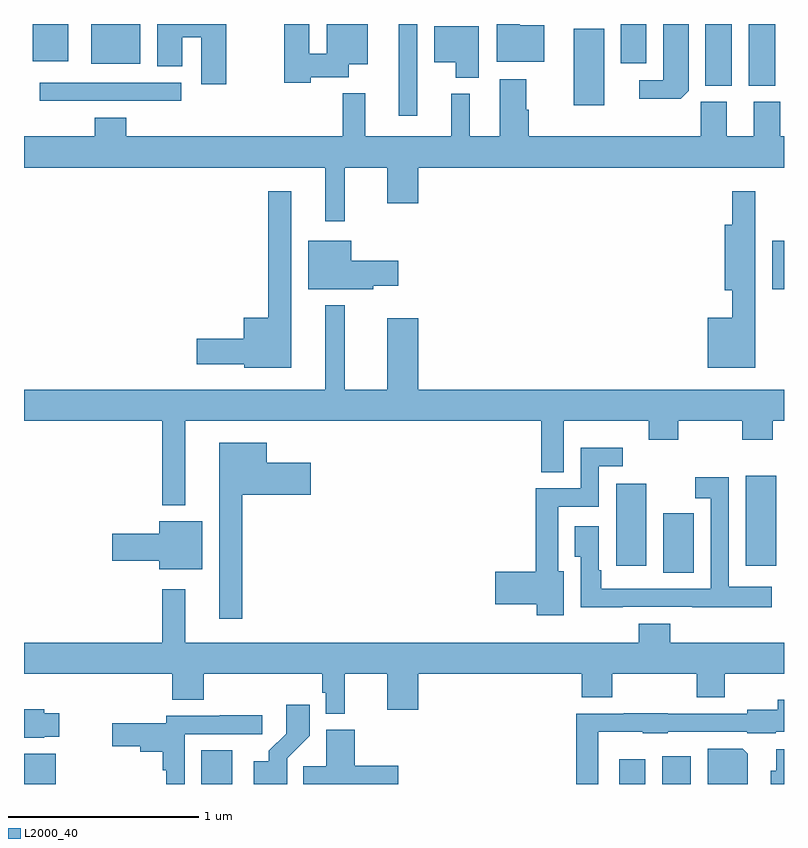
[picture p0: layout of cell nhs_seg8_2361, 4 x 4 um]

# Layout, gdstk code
import gdstk
lib = gdstk.Library(unit=1e-6, precision=1e-09)
def R(c, l, rs):  # rectangles x0, y0, x1, y1
    for r in rs: c.add(gdstk.rectangle(r[:2], r[2:], *l))
def P(c, l, *ps):  # polygons
    for p in ps: c.add(gdstk.Polygon(p, *l))
L2000_40 = (2000, 40)

nhs_seg8_2361 = lib.new_cell('nhs_seg8_2361')
R(nhs_seg8_2361, L2000_40, [(259.001,1135.9,259.168,1136.059), (259.934,1135.9,260.095,1136.077), (262.133,1135.9,262.27,1136.029), (262.358,1135.9,262.51,1136.047), (262.364,1137.013,262.525,1137.324), (262.118,1137.048,262.276,1137.481), (262.799,1137.048,262.96,1137.523), (262.937,1138.505,263,1138.759), (260.972,1139.418,261.069,1139.9), (261.893,1139.472,262.054,1139.875), (259.083,1139.496,259.828,1139.592), (262.586,1139.575,262.726,1139.9), (262.814,1139.575,262.954,1139.9), (259.355,1139.69,259.612,1139.9), (262.142,1139.694,262.276,1139.9), (259.046,1139.705,259.234,1139.9)])
P(nhs_seg8_2361, L2000_40, [(261.739,1139.893),(261.61,1139.893),(261.61,1139.9),(261.488,1139.9),(261.488,1139.702),(261.739,1139.702)],
  [(260.508,1139.621),(260.71,1139.621),(260.71,1139.687),(260.809,1139.687),(260.809,1139.9),(260.594,1139.9),(260.594,1139.744),(260.5,1139.744),(260.5,1139.9),(260.371,1139.9),(260.371,1139.591),(260.508,1139.591)],
  [(260.064,1139.9),(259.7,1139.9),(259.7,1139.677),(259.834,1139.677),(259.834,1139.831),(259.934,1139.831),(259.934,1139.583),(260.064,1139.583)],
  [(262.498,1139.548),(262.498,1139.9),(262.364,1139.9),(262.364,1139.604),(262.239,1139.604),(262.239,1139.507),(262.457,1139.507)],
  [(261.394,1139.887),(261.158,1139.887),(261.158,1139.699),(261.272,1139.699),(261.272,1139.618),(261.394,1139.618)],
  [(260.689,1139.144),(260.912,1139.144),(260.912,1138.956),(261.076,1138.956),(261.076,1139.144),(263,1139.144),(263,1139.308),(262.979,1139.308),(262.979,1139.49),(262.841,1139.49),(262.841,1139.308),(262.699,1139.308),(262.699,1139.49),(262.561,1139.49),(262.561,1139.308),(261.656,1139.308),(261.656,1139.45),(261.643,1139.45),(261.643,1139.608),(261.503,1139.608),(261.503,1139.308),(261.346,1139.308),(261.346,1139.533),(261.248,1139.533),(261.248,1139.308),(260.795,1139.308),(260.795,1139.536),(260.677,1139.536),(260.677,1139.308),(259.538,1139.308),(259.538,1139.407),(259.373,1139.407),(259.373,1139.308),(259,1139.308),(259,1139.144),(260.585,1139.144),(260.585,1138.863),(260.689,1138.863)],
  [(260.407,1139.02),(260.286,1139.02),(260.286,1138.354),(260.156,1138.354),(260.156,1138.244),(259.908,1138.244),(259.908,1138.109),(260.16,1138.109),(260.16,1138.091),(260.407,1138.091)],
  [(262.849,1139.02),(262.728,1139.02),(262.728,1138.843),(262.688,1138.843),(262.688,1138.499),(262.728,1138.499),(262.728,1138.354),(262.598,1138.354),(262.598,1138.091),(262.849,1138.091)],
  [(260.838,1138.523),(260.971,1138.523),(260.971,1138.653),(260.722,1138.653),(260.722,1138.759),(260.495,1138.759),(260.495,1138.505),(260.838,1138.505)],
  [(259.849,1137.812),(261.723,1137.812),(261.723,1137.541),(261.841,1137.541),(261.841,1137.812),(262.288,1137.812),(262.288,1137.713),(262.443,1137.713),(262.443,1137.812),(262.78,1137.812),(262.78,1137.713),(262.94,1137.713),(262.94,1137.812),(263,1137.812),(263,1137.976),(261.076,1137.976),(261.076,1138.351),(260.912,1138.351),(260.912,1137.976),(260.689,1137.976),(260.689,1138.42),(260.585,1138.42),(260.585,1137.976),(259,1137.976),(259,1137.812),(259.728,1137.812),(259.728,1137.368),(259.849,1137.368)],
  [(260.149,1137.422),(260.509,1137.422),(260.509,1137.592),(260.278,1137.592),(260.278,1137.697),(260.027,1137.697),(260.027,1136.769),(260.149,1136.769)],
  [(261.841,1137.019),(261.811,1137.019),(261.811,1137.36),(262.026,1137.36),(262.026,1137.573),(262.15,1137.573),(262.15,1137.67),(261.93,1137.67),(261.93,1137.456),(261.693,1137.456),(261.693,1137.017),(261.48,1137.017),(261.48,1136.846),(261.698,1136.846),(261.698,1136.787),(261.841,1136.787)],
  [(262.151,1136.832),(262.517,1136.832),(262.517,1136.831),(262.936,1136.831),(262.936,1136.938),(262.71,1136.938),(262.71,1137.514),(262.533,1137.514),(262.533,1137.405),(262.614,1137.405),(262.614,1136.928),(262.039,1136.928),(262.039,1137.025),(262.026,1137.025),(262.026,1137.256),(261.899,1137.256),(261.899,1137.097),(261.93,1137.097),(261.93,1136.831),(262.151,1136.831)],
  [(259.939,1137.283),(259.712,1137.283),(259.712,1137.218),(259.464,1137.218),(259.464,1137.076),(259.712,1137.076),(259.712,1137.029),(259.939,1137.029)],
  [(260.688,1136.48),(260.912,1136.48),(260.912,1136.292),(261.076,1136.292),(261.076,1136.48),(261.935,1136.48),(261.935,1136.356),(262.095,1136.356),(262.095,1136.48),(262.54,1136.48),(262.54,1136.356),(262.687,1136.356),(262.687,1136.48),(263,1136.48),(263,1136.644),(262.4,1136.644),(262.4,1136.743),(262.235,1136.743),(262.235,1136.644),(259.849,1136.644),(259.849,1136.926),(259.728,1136.926),(259.728,1136.644),(259,1136.644),(259,1136.48),(259.781,1136.48),(259.781,1136.344),(259.946,1136.344),(259.946,1136.48),(260.569,1136.48),(260.569,1136.379),(260.589,1136.379),(260.589,1136.27),(260.688,1136.27)],
  [(262.023,1136.174),(262.257,1136.174),(262.257,1136.168),(262.389,1136.168),(262.389,1136.175),(262.806,1136.175),(262.806,1136.168),(262.956,1136.168),(262.956,1136.174),(263,1136.174),(263,1136.344),(262.967,1136.344),(262.967,1136.29),(262.806,1136.29),(262.806,1136.271),(262.389,1136.271),(262.389,1136.273),(262.157,1136.273),(262.157,1136.271),(261.907,1136.271),(261.907,1135.9),(262.023,1135.9)],
  [(260.385,1136.035),(260.504,1136.154),(260.504,1136.317),(260.379,1136.317),(260.379,1136.165),(260.288,1136.075),(260.288,1136.02),(260.208,1136.02),(260.208,1135.9),(260.385,1135.9)],
  [(259.107,1136.15),(259.186,1136.15),(259.186,1136.272),(259.107,1136.272),(259.107,1136.293),(259,1136.293),(259,1136.144),(259.107,1136.144)],
  [(259.845,1136.163),(260.254,1136.163),(260.254,1136.262),(260.029,1136.262),(260.029,1136.259),(259.748,1136.259),(259.748,1136.221),(259.464,1136.221),(259.464,1136.099),(259.613,1136.099),(259.613,1136.069),(259.729,1136.069),(259.729,1135.973),(259.748,1135.973),(259.748,1135.9),(259.845,1135.9)],
  [(260.971,1135.996),(260.741,1135.996),(260.741,1136.185),(260.591,1136.185),(260.591,1135.994),(260.47,1135.994),(260.47,1135.9),(260.971,1135.9)],
  [(262.81,1136.06),(262.784,1136.086),(262.598,1136.086),(262.598,1135.9),(262.81,1135.9)],
  [(263,1136.084),(262.958,1136.084),(262.958,1135.971),(262.931,1135.971),(262.931,1135.9),(263,1135.9)])

lib.write_gds('nhs_seg8_2361.gds')
